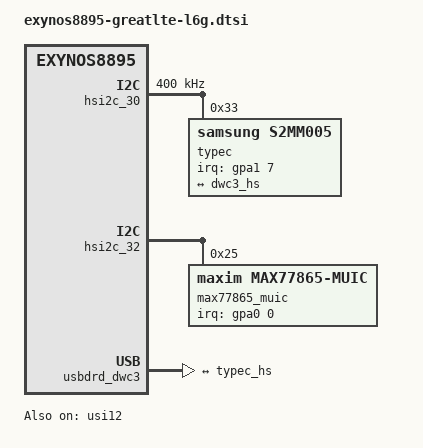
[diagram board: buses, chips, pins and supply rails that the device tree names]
// SPDX-License-Identifier: GPL-2.0 OR BSD-3-Clause
/*
 * Samsung Galaxy Note 8 (greatlte, SM-N950N) board DT, part "l6g":
 * L6G Type-C: S2MM005 port controller, MAX77865 MUIC (L6G 4).
 *
 * Included at the end of exynos8895-greatlte.dts, after L0's nodes, in the merge
 * order of FULL_IMAGE_PLAN.md 2.2. Owner: WP-6G; no other work package edits this
 * file (plan 2.3 rule D1). A node that two parts both configure (&usi12 with L6H)
 * is written identically in both files: dtc lets the later file win on a differing
 * value, which gl-verify V-DUP reports as an error.
 */

#include <dt-bindings/gpio/gpio.h>
#include <dt-bindings/interrupt-controller/irq.h>
#include <dt-bindings/soc/samsung,exynos-usi.h>

&pinctrl_alive {
	/* S2MM005 INT, gpa1-7: EINT, pull-up, drive LV1 (FDT:389-396 "usbpd-irq" fn 0xf pud 3 drv 0) */
	usbpd_irq: usbpd-irq-pins {
		samsung,pins = "gpa1-7";
		samsung,pin-function = <EXYNOS_PIN_FUNC_EINT>;
		samsung,pin-pud = <EXYNOS_PIN_PULL_UP>;
		samsung,pin-drv = <EXYNOS7_PIN_DRV_LV1>;
	};
};

&pinctrl_peric1 {
	/* S2MM005 hard reset: SCL/SDA output low (FDT:3271-3279 "scl_sda_low", S:drivers/ccic/s2mm005.c:337-357) */
	hsi2c30_reset: hsi2c30-reset-pins {
		samsung,pins = "gpe4-7", "gpe4-6";
		samsung,pin-function = <EXYNOS_PIN_FUNC_OUTPUT>;
		samsung,pin-pud = <EXYNOS_PIN_PULL_NONE>;
		samsung,pin-val = <0>;
		samsung,pin-drv = <EXYNOS7_PIN_DRV_LV1>;
	};
};

/* identical text in L6H's part: the USI is shared with the IDT receiver on hsi2c_29 */
&usi12 {
	samsung,mode = <USI_MODE_I2C0_1>;	/* stock usi@10821028 usi_mode = "hsi2c0_hsi2c1" FDT:5070-5075 */
	status = "okay";
};

&hsi2c_30 {					/* stock hsi2c@10950000 FDT:6097-6117 (SPI 0x1a7 = 423) */
	#address-cells = <1>;			/* FDT:6102; the parent usi12 has <1>/<1> */
	#size-cells = <0>;			/* FDT:6103 */
	clock-frequency = <400000>;		/* FDT:6115 <0x61a80> */
	pinctrl-names = "default", "hard_reset";	/* FDT:6104 (om_high/om_input: firmware flash only) */
	pinctrl-0 = <&hsi2c30_bus>;		/* FDT:6105 -> 0x85 hsi2c30-bus */
	pinctrl-1 = <&hsi2c30_reset>;		/* FDT:6112 -> 0x86 scl_sda_low */
	status = "okay";

	typec: typec@33 {
		compatible = "samsung,s2mm005";	/* stock "sec-s2mm005,i2c" FDT:6119 */
		reg = <0x33>;			/* FDT:6120 */
		pinctrl-names = "default";
		pinctrl-0 = <&usbpd_irq>;	/* FDT:6121-6122 */
		/* FDT:6124 usbpd,usbpd_int = <&gpa1 7 0>; stock IRQF_TRIGGER_FALLING S:drivers/ccic/s2mm005.c:1072-1073 */
		interrupts-extended = <&gpa1 7 IRQ_TYPE_EDGE_FALLING>;
		samsung,muic = <&max77865_muic>;
		wakeup-source;			/* S:drivers/ccic/s2mm005.c:807, :1203-1204 */

		connector {
			compatible = "usb-c-connector";
			label = "USB-C";
			power-role = "dual";		/* TYPEC_PORT_DRP S:drivers/ccic/s2mm005.c:1027 */
			data-role = "dual";
			try-power-role = "sink";	/* informational; the firmware toggles */
			typec-power-opmode = "default";
			/*
			 * G2: the phone's 5 V OTG boost (L6F regulator usb_otg_vbus,
			 * exynos8895-greatlte-l6f.dtsi:276-282). The driver switches it only
			 * with CONFIG_TYPEC_S2MM005_OTG_VBUS, which defaults to n (spec L6G
			 * 5.1.7, 6.2; L6H SAFETY row V1), so with the default image no
			 * regulator_enable() of this path runs.
			 */
			vbus-supply = <&otg_vbus>;
			/*
			 * G2: the role switch endpoint (spec L6G 4.3); the S2MM005 driver
			 * found it on the connector's fwnode.
			 */
			ports {
				#address-cells = <1>;
				#size-cells = <0>;

				port@0 {			/* HS: the role switch (G2) */
					reg = <0>;
					typec_hs: endpoint {
						remote-endpoint = <&dwc3_hs>;
					};
				};
			};
		};
	};
};

&hsi2c_32 {
	max77865_muic: muic@25 {
		compatible = "maxim,max77865-muic";
		reg = <0x25>;			/* S:drivers/mfd/max77865.c:45 I2C_ADDR_MUIC (0x4A >> 1) */
		/*
		 * FDT:6171 muic-universal,irq-gpio = <&gpa0 0 1>; stock IRQF_TRIGGER_LOW | IRQF_ONESHOT
		 * (S:drivers/muic/universal/muic_task_max77865.c:339-341). The gpa0-0 pin group
		 * (muic_irq) is applied by L6F's pmic@66 node.
		 */
		interrupts-extended = <&gpa0 0 IRQ_TYPE_LEVEL_LOW>;
		wakeup-source;			/* stock enable_irq_wake, muic_task_max77865.c:349 */
	};
};

/*
 * G2 (spec L6G 5.4): the S2MM005 driver is the consumer of the dwc3 role switch, so the
 * controller switches between host and device on the cable (stock dwc3_exynos_vbus_event,
 * S:drivers/usb/dwc3/dwc3-exynos.c:378-403). dr_mode = "otg" is L3's property (the carried
 * commit in exynos8895-greatlte-l3.dtsi, REQ-L3-G2).
 */
&usbdrd_dwc3 {
	usb-role-switch;
	role-switch-default-mode = "peripheral";	/* A:Documentation/devicetree/bindings/usb/usb-drd.yaml:57-63 */

	port {
		dwc3_hs: endpoint {
			remote-endpoint = <&typec_hs>;
		};
	};
};
